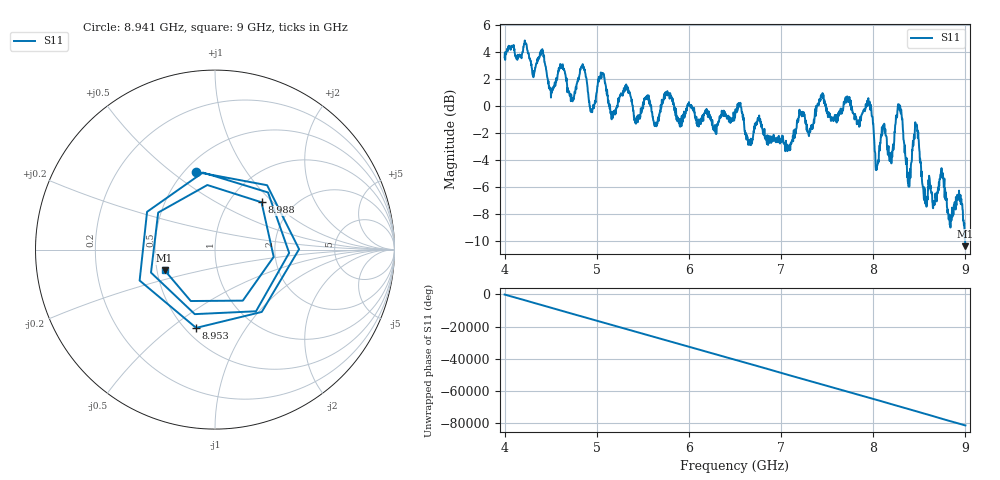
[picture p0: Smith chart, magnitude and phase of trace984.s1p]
! Created with skrf 1.8.0 (http://scikit-rf.org).
# Hz S RI R 50.0
!freq ReS11 ImS11
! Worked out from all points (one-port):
!   1601 points, 4 GHz to 9 GHz, reference 50 ohm
!   lowest |S11| = -10.4 dB at 9 GHz (marker M1), VSWR 1.87, Z = 27.5 - j6.95 ohm
!   |S11| at or under -10 dB: 8.997115 GHz to end of sweep
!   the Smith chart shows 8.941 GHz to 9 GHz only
!   S11 on the Smith chart (normalised r, x): 8.941 GHz: 0.57, +0.61; 8.953 GHz: 0.57, -0.62; 8.988 GHz: 1.40, +0.85; 9 GHz: 0.55, -0.14
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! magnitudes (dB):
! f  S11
! 4 GHz  3.6
! 4.403 GHz  4.1
! 4.506 GHz  1.0
! 4.625 GHz  2.8
! 4.731 GHz  0.6
! 4.853 GHz  2.8
! 4.947 GHz  -0.2
! 5.053 GHz  2.3
! 5.166 GHz  -0.6
! 5.25 GHz  0.7
! 5.875 GHz  -1.1
! 6.5 GHz  -0.9
! 7.125 GHz  -2.6
! 7.438 GHz  0.8
! 7.75 GHz  0.4
! 7.956 GHz  0.2
! 8.041 GHz  -4.4
! 8.109 GHz  -1.5
! 8.197 GHz  -4.2
! 8.288 GHz  -0.3
! 8.375 GHz  -5.6
! 8.466 GHz  -1.4
! 8.566 GHz  -7.2
! 8.738 GHz  -4.8
! 8.941 GHz  -7.0
! 8.953 GHz  -7.0
! 8.988 GHz  -8.6
! 9 GHz  -10.4
